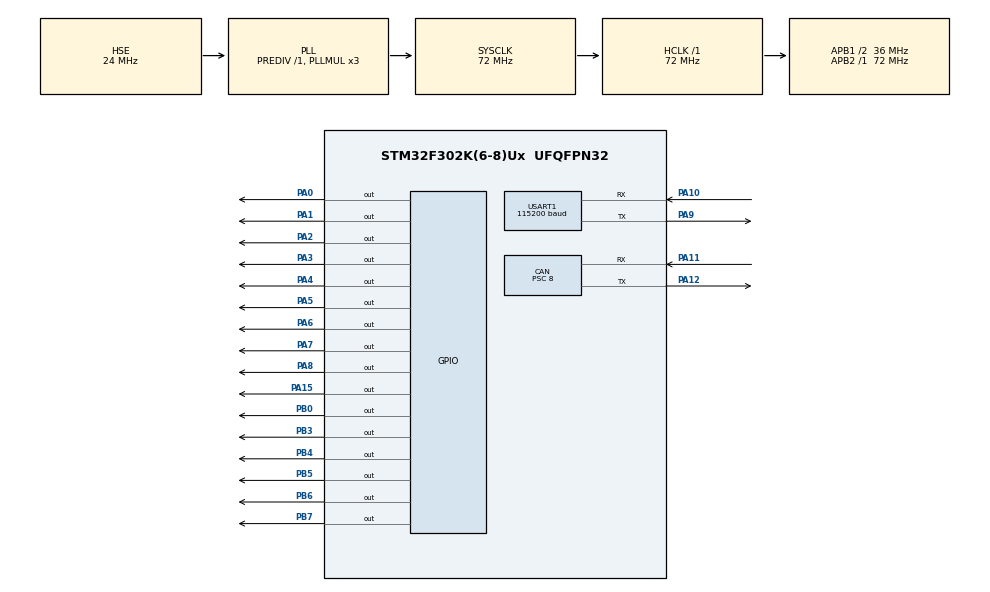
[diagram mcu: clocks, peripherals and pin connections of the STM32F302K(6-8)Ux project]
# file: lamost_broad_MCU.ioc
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CAN.BS1=CAN_BS1_12TQ
CAN.BS2=CAN_BS2_5TQ
CAN.CalculateBaudRate=250000
CAN.CalculateTimeBit=4000
CAN.CalculateTimeQuantum=222.22222222222223
CAN.Mode=CAN_MODE_SILENT
CAN.Prescaler=8
CAN.SJW=CAN_SJW_1TQ
Dma.Request0=USART1_RX
Dma.Request1=USART1_TX
Dma.USART1_RX.0.Direction=DMA_PERIPH_TO_MEMORY
Dma.USART1_RX.0.Instance=DMA1_Channel5
Dma.USART1_RX.0.MemDataAlignment=DMA_MDATAALIGN_BYTE
Dma.USART1_RX.0.MemInc=DMA_MINC_ENABLE
Dma.USART1_RX.0.Mode=DMA_NORMAL
Dma.USART1_RX.0.PeriphDataAlignment=DMA_PDATAALIGN_BYTE
Dma.USART1_RX.0.PeriphInc=DMA_PINC_DISABLE
Dma.USART1_RX.0.Priority=DMA_PRIORITY_LOW
Dma.USART1_TX.1.Direction=DMA_MEMORY_TO_PERIPH
Dma.USART1_TX.1.Instance=DMA1_Channel4
Dma.USART1_TX.1.MemDataAlignment=DMA_MDATAALIGN_BYTE
Dma.USART1_TX.1.MemInc=DMA_MINC_ENABLE
Dma.USART1_TX.1.Mode=DMA_NORMAL
Dma.USART1_TX.1.PeriphDataAlignment=DMA_PDATAALIGN_BYTE
Dma.USART1_TX.1.PeriphInc=DMA_PINC_DISABLE
Dma.USART1_TX.1.Priority=DMA_PRIORITY_LOW
Mcu.Family=STM32F3
Mcu.Name=STM32F302K(6-8)Ux
Mcu.Package=UFQFPN32
NVIC.CAN_RX1_IRQn=true\:0\:0\:false\:false\:true\:true\:true\:true
NVIC.DMA1_Channel4_IRQn=true\:0\:0\:false\:false\:true\:false\:true\:true
NVIC.DMA1_Channel5_IRQn=true\:0\:0\:false\:false\:true\:false\:true\:true
NVIC.PriorityGroup=NVIC_PRIORITYGROUP_4
NVIC.TIM1_CC_IRQn=true\:0\:0\:false\:false\:true\:true\:true\:true
NVIC.TIM1_UP_TIM16_IRQn=true\:0\:0\:false\:false\:true\:true\:true\:true
NVIC.USART1_IRQn=true\:0\:0\:false\:false\:true\:false\:true\:true
NVIC.USB_LP_CAN_RX0_IRQn=true\:0\:0\:false\:false\:true\:true\:true\:true
PA0.Signal=GPIO_Output
PA1.Signal=GPIO_Output
PA10.Mode=Asynchronous
PA10.Signal=USART1_RX
PA11.Mode=CAN_Activate
PA11.Signal=CAN_RX
PA12.Mode=CAN_Activate
PA12.Signal=CAN_TX
PA13.Mode=Serial_Wire
PA13.Signal=SYS_JTMS-SWDIO
PA14.Mode=Serial_Wire
PA14.Signal=SYS_JTCK-SWCLK
PA15.Signal=GPIO_Output
PA2.Signal=GPIO_Output
PA3.Signal=GPIO_Output
PA4.Signal=GPIO_Output
PA5.Signal=GPIO_Output
PA6.Signal=GPIO_Output
PA7.Signal=GPIO_Output
PA8.Signal=GPIO_Output
PA9.Mode=Asynchronous
PA9.Signal=USART1_TX
PB0.Signal=GPIO_Output
PB3.Signal=GPIO_Output
PB4.Signal=GPIO_Output
PB5.Signal=GPIO_Output
PB6.Signal=GPIO_Output
PB7.Signal=GPIO_Output
PF0-OSC_IN.Mode=HSE-External-Oscillator
PF0-OSC_IN.Signal=RCC_OSC_IN
PF1-OSC_OUT.Mode=HSE-External-Oscillator
PF1-OSC_OUT.Signal=RCC_OSC_OUT
ProjectManager.HeapSize=0x200
ProjectManager.StackSize=0x400
ProjectManager.TargetToolchain=CMake
RCC.AHBFreq_Value=72000000
RCC.APB1CLKDivider=RCC_HCLK_DIV2
RCC.APB1Freq_Value=36000000
RCC.APB1TimFreq_Value=72000000
RCC.APB2Freq_Value=72000000
RCC.APB2TimFreq_Value=72000000
RCC.CortexFreq_Value=72000000
RCC.HCLKFreq_Value=72000000
RCC.HSE_VALUE=24000000
RCC.HSI_VALUE=8000000
RCC.PLLMUL=RCC_PLL_MUL3
RCC.PLLSourceVirtual=RCC_PLLSOURCE_HSE
RCC.SYSCLKFreq_VALUE=72000000
RCC.SYSCLKSourceVirtual=RCC_SYSCLKSOURCE_PLLCLK
RCC.USBFreq_Value=72000000
TIM1.AutoReloadPreload=TIM_AUTORELOAD_PRELOAD_DISABLE
TIM1.Channel-Output\ Compare1\ No\ Output=TIM_CHANNEL_1
TIM1.Period=10000-1
TIM1.Prescaler=72-1
TIM1.Pulse-Output\ Compare1\ No\ Output=2500-1
USART1.BaudRate=115200
USART1.VirtualMode-Asynchronous=VM_ASYNC
VP_TIM1_VS_ClockSourceINT.Mode=Internal
VP_TIM1_VS_no_output1.Mode=Output Compare1 No Output
board=custom

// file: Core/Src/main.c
/* USER CODE BEGIN Header */
/**
 ******************************************************************************
 * @file           : main.c
 * @brief          : Main program body
 ******************************************************************************
 * @attention
 *
 * Copyright (c) 2026 STMicroelectronics.
 * All rights reserved.
 *
 * This software is licensed under terms that can be found in the LICENSE file
 * in the root directory of this software component.
 * If no LICENSE file comes with this software, it is provided AS-IS.
 *
 ******************************************************************************
 */
/* USER CODE END Header */
#include "main.h"
#include "can.h"
#include "dma.h"
#include "tim.h"
#include "usart.h"
#include "gpio.h"

/* USER CODE BEGIN Includes */
#include "just_led.h"
#include "stdio.h"
#include "can_rx_buffer.h"
#include "can_command.h"
/* USER CODE END Includes */

/* USER CODE BEGIN PD */
extern const uint16_t pcb_map[JUST_BOARD_LED_NUMBER];

/* USER CODE END PD */

/* USER CODE BEGIN PV */

CAN_RX_Handle_t can_rx;

/* USER CODE END PV */

void SystemClock_Config(void);

int main(void)
{

  /* MCU Configuration--------------------------------------------------------*/

  /* Reset of all peripherals, Initializes the Flash interface and the Systick. */
  HAL_Init();

  /* Configure the system clock */
  SystemClock_Config();

  /* Initialize all configured peripherals */
  MX_GPIO_Init();
  MX_DMA_Init();
  MX_CAN_Init();
  MX_TIM1_Init();
  MX_USART1_UART_Init();
  /* USER CODE BEGIN 2 */

  CAN_RX_Init(&can_rx, &hcan); // 初始化 CAN 接收环形缓存
  CAN_Command_Init(HAL_GetTick()); // 先显示板号十位，再显示个位，5秒后结束

  if (HAL_TIM_Base_Start_IT(&htim1) != HAL_OK ||
      HAL_TIM_OC_Start_IT(&htim1, TIM_CHANNEL_1) != HAL_OK ||
      HAL_CAN_Start(&hcan) != HAL_OK ||
      HAL_CAN_ActivateNotification(&hcan, CAN_IT_RX_FIFO0_MSG_PENDING) != HAL_OK) {
    Error_Handler();
  }
  /* USER CODE END 2 */

  /* Infinite loop */
  while (1) {

    /* USER CODE BEGIN 3 */
    CAN_RX_Process(&can_rx);
    CAN_Command_Poll(HAL_GetTick()); // 非阻塞计时，显示板号期间仍处理CAN

  }
  /* USER CODE END 3 */
}

void SystemClock_Config(void)
{
  RCC_OscInitTypeDef RCC_OscInitStruct = {0};
  RCC_ClkInitTypeDef RCC_ClkInitStruct = {0};
  RCC_PeriphCLKInitTypeDef PeriphClkInit = {0};

  /** Initializes the RCC Oscillators according to the specified parameters
  * in the RCC_OscInitTypeDef structure.
  */
  RCC_OscInitStruct.OscillatorType = RCC_OSCILLATORTYPE_HSE;
  RCC_OscInitStruct.HSEState = RCC_HSE_ON;
  RCC_OscInitStruct.HSEPredivValue = RCC_HSE_PREDIV_DIV1;
  RCC_OscInitStruct.HSIState = RCC_HSI_ON;
  RCC_OscInitStruct.PLL.PLLState = RCC_PLL_ON;
  RCC_OscInitStruct.PLL.PLLSource = RCC_PLLSOURCE_HSE;
  RCC_OscInitStruct.PLL.PLLMUL = RCC_PLL_MUL3;
  if (HAL_RCC_OscConfig(&RCC_OscInitStruct) != HAL_OK)
  {
    Error_Handler();
  }

  /** Initializes the CPU, AHB and APB buses clocks
  */
  RCC_ClkInitStruct.ClockType = RCC_CLOCKTYPE_HCLK|RCC_CLOCKTYPE_SYSCLK
                              |RCC_CLOCKTYPE_PCLK1|RCC_CLOCKTYPE_PCLK2;
  RCC_ClkInitStruct.SYSCLKSource = RCC_SYSCLKSOURCE_PLLCLK;
  RCC_ClkInitStruct.AHBCLKDivider = RCC_SYSCLK_DIV1;
  RCC_ClkInitStruct.APB1CLKDivider = RCC_HCLK_DIV2;
  RCC_ClkInitStruct.APB2CLKDivider = RCC_HCLK_DIV1;

  if (HAL_RCC_ClockConfig(&RCC_ClkInitStruct, FLASH_LATENCY_2) != HAL_OK)
  {
    Error_Handler();
  }
  PeriphClkInit.PeriphClockSelection = RCC_PERIPHCLK_USART1|RCC_PERIPHCLK_TIM1;
  PeriphClkInit.Usart1ClockSelection = RCC_USART1CLKSOURCE_PCLK1;
  PeriphClkInit.Tim1ClockSelection = RCC_TIM1CLK_HCLK;
  if (HAL_RCCEx_PeriphCLKConfig(&PeriphClkInit) != HAL_OK)
  {
    Error_Handler();
  }
}

/* USER CODE BEGIN 4 */

// 重定向 printf 到 USART1
int _write(int file, char *ptr, int len) {
  HAL_UART_Transmit(&huart1, (uint8_t *)ptr, len, HAL_MAX_DELAY);
  return len;
}

/* USER CODE END 4 */

void Error_Handler(void)
{
  __disable_irq();
  while (1) {
  }
}
#ifdef USE_FULL_ASSERT
/**
  * @brief  Reports the name of the source file and the source line number
  *         where the assert_param error has occurred.
  * @param  file: pointer to the source file name
  * @param  line: assert_param error line source number
  * @retval None
  */
void assert_failed(uint8_t *file, uint32_t line)
{
  /* USER CODE BEGIN 6 */
  /* User can add his own implementation to report the file name and line
     number, ex: printf("Wrong parameters value: file %s on line %d\r\n", file,
     line) */
  /* USER CODE END 6 */
}
#endif /* USE_FULL_ASSERT */
